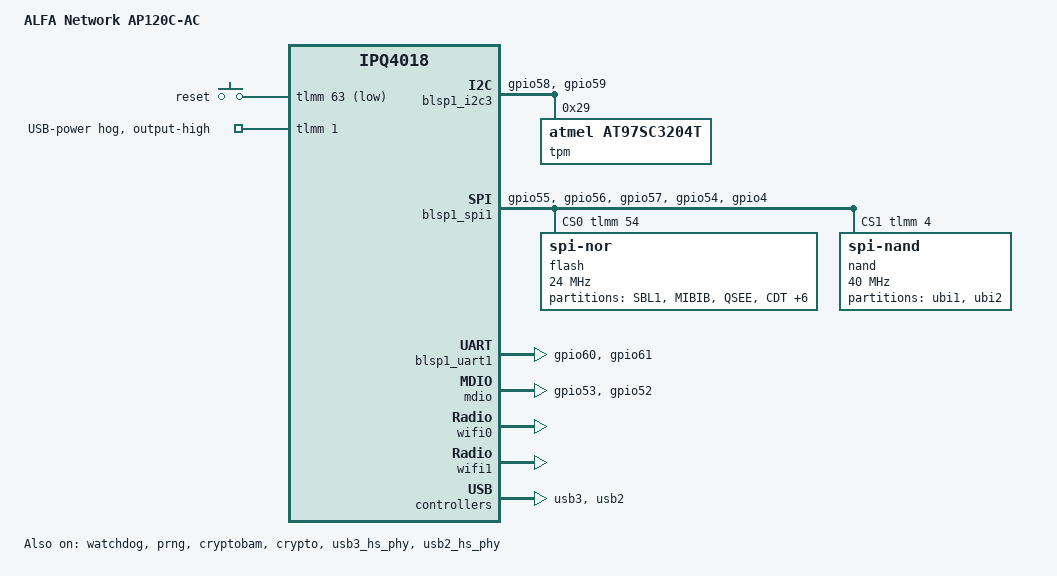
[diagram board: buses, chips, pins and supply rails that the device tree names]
// SPDX-License-Identifier: GPL-2.0-or-later OR MIT

#include "qcom-ipq4019.dtsi"
#include <dt-bindings/gpio/gpio.h>
#include <dt-bindings/input/input.h>

/ {
	model = "ALFA Network AP120C-AC";
	compatible = "alfa-network,ap120c-ac", "qcom,ipq4018";

	keys {
		compatible = "gpio-keys";

		key-reset {
			label = "reset";
			gpios = <&tlmm 63 GPIO_ACTIVE_LOW>;
			linux,code = <KEY_RESTART>;
		};
	};
};

&tlmm {
	i2c0_pins: i2c0_pinmux {
		mux_i2c {
			function = "blsp_i2c0";
			pins = "gpio58", "gpio59";
			drive-strength = <16>;
			bias-disable;
		};
	};

	mdio_pins: mdio_pinmux {
		mux_mdio {
			pins = "gpio53";
			function = "mdio";
			bias-pull-up;
		};

		mux_mdc {
			pins = "gpio52";
			function = "mdc";
			bias-pull-up;
		};
	};

	serial0_pins: serial0_pinmux {
		mux_uart {
			pins = "gpio60", "gpio61";
			function = "blsp_uart0";
			bias-disable;
		};
	};

	spi0_pins: spi0_pinmux {
		mux_spi {
			function = "blsp_spi0";
			pins = "gpio55", "gpio56", "gpio57";
			drive-strength = <12>;
			bias-disable;
		};

		mux_cs {
			function = "gpio";
			pins = "gpio54", "gpio4";
			drive-strength = <2>;
			bias-disable;
			output-high;
		};
	};

	usb-power {
		line-name = "USB-power";
		gpios = <1 GPIO_ACTIVE_HIGH>;
		gpio-hog;
		output-high;
	};
};

&watchdog {
	status = "okay";
};

&prng {
	status = "okay";
};

&blsp_dma {
	status = "okay";
};

&blsp1_i2c3 {
	status = "okay";

	pinctrl-0 = <&i2c0_pins>;
	pinctrl-names = "default";

	tpm@29 {
		compatible = "atmel,at97sc3204t";
		reg = <0x29>;
	};
};

&blsp1_spi1 {
	status = "okay";

	pinctrl-0 = <&spi0_pins>;
	pinctrl-names = "default";
	cs-gpios = <&tlmm 54 GPIO_ACTIVE_HIGH>, <&tlmm 4 GPIO_ACTIVE_HIGH>;

	flash@0 {
		compatible = "jedec,spi-nor";
		reg = <0>;
		spi-max-frequency = <24000000>;

		partitions {
			compatible = "fixed-partitions";
			#address-cells = <1>;
			#size-cells = <1>;

			partition@0 {
				label = "SBL1";
				reg = <0x00000000 0x00040000>;
				read-only;
			};

			partition@40000 {
				label = "MIBIB";
				reg = <0x00040000 0x00020000>;
				read-only;
			};

			partition@60000 {
				label = "QSEE";
				reg = <0x00060000 0x00060000>;
				read-only;
			};

			partition@c0000 {
				label = "CDT";
				reg = <0x000c0000 0x00010000>;
				read-only;
			};

			partition@d0000 {
				label = "DDRPARAMS";
				reg = <0x000d0000 0x00010000>;
				read-only;
			};

			partition@e0000 {
				label = "u-boot-env";
				reg = <0x000e0000 0x00010000>;
			};

			partition@f0000 {
				label = "u-boot";
				reg = <0x000f0000 0x00080000>;
				read-only;
			};

			partition@170000 {
				label = "ART";
				reg = <0x00170000 0x00010000>;
				read-only;
			};

			partition@180000 {
				label = "priv_data1";
				reg = <0x00180000 0x00010000>;
				read-only;
			};

			partition@190000 {
				label = "priv_data2";
				reg = <0x00190000 0x00010000>;
				read-only;
			};
		};
	};

	nand@1 {
		compatible = "spi-nand";
		reg = <1>;
		spi-max-frequency = <40000000>;

		partitions {
			compatible = "fixed-partitions";
			#address-cells = <1>;
			#size-cells = <1>;

			partition@0 {
				label = "ubi1";
				reg = <0x00000000 0x04000000>;
			};

			partition@4000000 {
				label = "ubi2";
				reg = <0x04000000 0x04000000>;
			};
		};
	};
};

&blsp1_uart1 {
	status = "okay";

	pinctrl-0 = <&serial0_pins>;
	pinctrl-names = "default";
};

&cryptobam {
	status = "okay";
};

&crypto {
	status = "okay";
};

&mdio {
	status = "okay";

	pinctrl-0 = <&mdio_pins>;
	pinctrl-names = "default";
};

&wifi0 {
	status = "okay";
};

&wifi1 {
	status = "okay";
	qcom,ath10k-calibration-variant = "ALFA-Network-AP120C-AC";
};

&usb3_hs_phy {
	status = "okay";
};

&usb3 {
	status = "okay";

	dwc3@8a00000 {
		phys = <&usb3_hs_phy>;
		phy-names = "usb2-phy";
	};
};

&usb2_hs_phy {
	status = "okay";
};

&usb2 {
	status = "okay";
};
